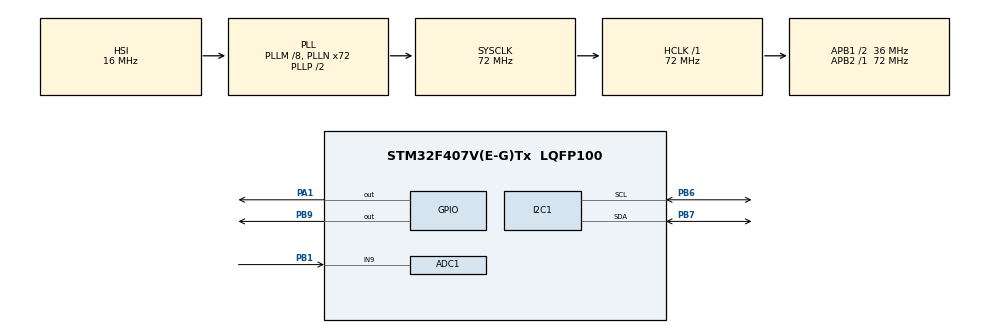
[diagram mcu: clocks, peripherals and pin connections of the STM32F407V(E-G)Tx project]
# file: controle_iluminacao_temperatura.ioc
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ADC1.Channel-1\#ChannelRegularConversion=ADC_CHANNEL_9
ADC1.ContinuousConvMode=ENABLE
ADC1.NbrOfConversionFlag=1
ADC1.Rank-1\#ChannelRegularConversion=1
ADC1.SamplingTime-1\#ChannelRegularConversion=ADC_SAMPLETIME_3CYCLES
ADC1.master=1
I2C1.OwnAddress=10
Mcu.Family=STM32F4
Mcu.Name=STM32F407V(E-G)Tx
Mcu.Package=LQFP100
NVIC.I2C1_EV_IRQn=true\:0\:0\:false\:false\:true\:true\:true\:true
NVIC.PriorityGroup=NVIC_PRIORITYGROUP_4
PA1.Signal=GPIO_Output
PA13.Mode=Serial_Wire
PA13.Signal=SYS_JTMS-SWDIO
PA14.Mode=Serial_Wire
PA14.Signal=SYS_JTCK-SWCLK
PB1.Signal=ADCx_IN9
PB6.Mode=I2C
PB6.Signal=I2C1_SCL
PB7.Mode=I2C
PB7.Signal=I2C1_SDA
PB9.Signal=GPIO_Output
PH0-OSC_IN.Mode=HSE-External-Oscillator
PH0-OSC_IN.Signal=RCC_OSC_IN
PH1-OSC_OUT.Mode=HSE-External-Oscillator
PH1-OSC_OUT.Signal=RCC_OSC_OUT
ProjectManager.HeapSize=0x200
ProjectManager.StackSize=0x400
ProjectManager.TargetToolchain=STM32CubeIDE
RCC.48MHZClocksFreq_Value=36000000
RCC.AHBFreq_Value=72000000
RCC.APB1CLKDivider=RCC_HCLK_DIV2
RCC.APB1Freq_Value=36000000
RCC.APB1TimFreq_Value=72000000
RCC.APB2Freq_Value=72000000
RCC.APB2TimFreq_Value=72000000
RCC.CortexFreq_Value=72000000
RCC.HCLKFreq_Value=72000000
RCC.HSE_VALUE=25000000
RCC.HSI_VALUE=16000000
RCC.LSE_VALUE=32768
RCC.PLLM=8
RCC.PLLN=72
RCC.SYSCLKFreq_VALUE=72000000
RCC.SYSCLKSource=RCC_SYSCLKSOURCE_PLLCLK
RCC.VCOOutputFreq_Value=144000000
SH.ADCx_IN9.0=ADC1_IN9,IN9
TIM1.Prescaler=71
VP_TIM1_VS_ClockSourceINT.Mode=Internal
board=custom

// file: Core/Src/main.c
/* USER CODE BEGIN Header */
/**
  ******************************************************************************
  * @file           : main.c
  * @brief          : Main program body
  ******************************************************************************
  * @attention
  *
  * Copyright (c) 2022 STMicroelectronics.
  * All rights reserved.
  *
  * This software is licensed under terms that can be found in the LICENSE file
  * in the root directory of this software component.
  * If no LICENSE file comes with this software, it is provided AS-IS.
  *
  ******************************************************************************
  */
/* USER CODE END Header */
#include "main.h"

/* USER CODE BEGIN Includes */
#define COUNTOF(__BUFFER__)   (sizeof(__BUFFER__) / sizeof(*(__BUFFER__)))
/* Size of Transmission buffer */
#define TXBUFFERSIZE                      (COUNTOF(aTxBuffer))
/* Size of Reception buffer */
#define RXBUFFERSIZE                      TXBUFFERSIZE
/* USER CODE END Includes */

/* USER CODE BEGIN PTD */
__IO uint32_t     Transfer_Direction = 0;
__IO uint32_t     Xfer_Complete = 0;
/* USER CODE END PTD */

 ADC_HandleTypeDef hadc1;

I2C_HandleTypeDef hi2c1;

TIM_HandleTypeDef htim1;

/* USER CODE BEGIN PD */
/* Buffer used for transmission */
uint8_t aTxBuffer[4];

/* Buffer used for reception */
uint8_t aRxBuffer[4];
/* USER CODE END PD */

void SystemClock_Config(void);
static void MX_GPIO_Init(void);
static void MX_ADC1_Init(void);
static void MX_TIM1_Init(void);
static void MX_I2C1_Init(void);

/* USER CODE BEGIN 0 */

#define DHT11_PORT GPIOB
#define DHT11_PIN GPIO_PIN_9
uint8_t RHI, RHD, TCI, TCD, SUM;
uint32_t pMillis, cMillis;
float tCelsius = 0;
float tFahrenheit = 0;
float RH = 0;
uint8_t automatic = 1;

void microDelay (uint16_t delay)
{
  __HAL_TIM_SET_COUNTER(&htim1, 0);
  while (__HAL_TIM_GET_COUNTER(&htim1) < delay);
}

uint8_t DHT11_Start (void)
{
  uint8_t Response = 0;
  GPIO_InitTypeDef GPIO_InitStructPrivate = {0};
  GPIO_InitStructPrivate.Pin = DHT11_PIN;
  GPIO_InitStructPrivate.Mode = GPIO_MODE_OUTPUT_PP;
  GPIO_InitStructPrivate.Speed = GPIO_SPEED_FREQ_LOW;
  GPIO_InitStructPrivate.Pull = GPIO_NOPULL;
  HAL_GPIO_Init(DHT11_PORT, &GPIO_InitStructPrivate); // set the pin as output
  HAL_GPIO_WritePin (DHT11_PORT, DHT11_PIN, 0);   // pull the pin low
  HAL_Delay(20);   // wait for 20ms
  HAL_GPIO_WritePin (DHT11_PORT, DHT11_PIN, 1);   // pull the pin high
  microDelay (30);   // wait for 30us
  GPIO_InitStructPrivate.Mode = GPIO_MODE_INPUT;
  GPIO_InitStructPrivate.Pull = GPIO_PULLUP;
  HAL_GPIO_Init(DHT11_PORT, &GPIO_InitStructPrivate); // set the pin as input
  microDelay (40);
  if (!(HAL_GPIO_ReadPin (DHT11_PORT, DHT11_PIN)))
  {
    microDelay (80);
    if ((HAL_GPIO_ReadPin (DHT11_PORT, DHT11_PIN))) Response = 1;
  }
  pMillis = HAL_GetTick();
  cMillis = HAL_GetTick();
  while ((HAL_GPIO_ReadPin (DHT11_PORT, DHT11_PIN)) && pMillis + 2 > cMillis)
  {
    cMillis = HAL_GetTick();
  }
  return Response;
}

uint8_t DHT11_Read (void)
{
  uint8_t a,b;
  for (a=0;a<8;a++)
  {
    pMillis = HAL_GetTick();
    cMillis = HAL_GetTick();
    while (!(HAL_GPIO_ReadPin (DHT11_PORT, DHT11_PIN)) && pMillis + 2 > cMillis)
    {  // wait for the pin to go high
      cMillis = HAL_GetTick();
    }
    microDelay (40);   // wait for 40 us
    if (!(HAL_GPIO_ReadPin (DHT11_PORT, DHT11_PIN)))   // if the pin is low
      b&= ~(1<<(7-a));
    else
      b|= (1<<(7-a));
    pMillis = HAL_GetTick();
    cMillis = HAL_GetTick();
    while ((HAL_GPIO_ReadPin (DHT11_PORT, DHT11_PIN)) && pMillis + 2 > cMillis)
    {  // wait for the pin to go low
      cMillis = HAL_GetTick();
    }
  }
  return b;
}
/* USER CODE END 0 */

int main(void)
{

  /* MCU Configuration--------------------------------------------------------*/

  /* Reset of all peripherals, Initializes the Flash interface and the Systick. */
  HAL_Init();

  /* Configure the system clock */
  SystemClock_Config();

  /* Initialize all configured peripherals */
  MX_GPIO_Init();
  MX_ADC1_Init();
  MX_TIM1_Init();
  MX_I2C1_Init();
  /* USER CODE BEGIN 2 */
  uint16_t readValue;
  HAL_ADC_Start(&hadc1);
  HAL_TIM_Base_Start(&htim1);
  if(HAL_I2C_EnableListen_IT(&hi2c1) != HAL_OK)
  {
    /* Transfer error in reception process */
    Error_Handler();
  }
  /* USER CODE END 2 */
  /* Infinite loop */
  /* USER CODE BEGIN WHILE */
  while (1)
  {

	 /* DHT_11 */
	  if (automatic) {

		  if(DHT11_Start())
			  {
				RHI = DHT11_Read(); // Relative humidity integral
				RHD = DHT11_Read(); // Relative humidity decimal
				TCI = DHT11_Read(); // Celsius integral
				TCD = DHT11_Read(); // Celsius decimal
				SUM = DHT11_Read();
				if (RHI + RHD + TCI + TCD == SUM)
				{

				  tCelsius = (float)TCI + (float)(TCD/10.0);
				  tFahrenheit = tCelsius * 9/5 + 32;
				  RH = (float)RHI + (float)(RHD/10.0);

				}
				if (TCI < 15)
				{
	;
				}
				else if (TCI < 25 )
				{

				}
				else
				{

				}
			  }
			  HAL_Delay(2000);

			  /* SENSOR LDR */

			  HAL_ADC_PollForConversion(&hadc1,1000);
			  readValue = HAL_ADC_GetValue(&hadc1);

			  if (readValue < 10)

				  HAL_GPIO_WritePin(GPIOA, GPIO_PIN_1, 1);
			  else
				  HAL_GPIO_WritePin(GPIOA, GPIO_PIN_1, 0);

			  HAL_Delay(50);

		/* USER CODE END WHILE */

	  }
  }
}

void SystemClock_Config(void)
{
  RCC_OscInitTypeDef RCC_OscInitStruct = {0};
  RCC_ClkInitTypeDef RCC_ClkInitStruct = {0};

  /** Configure the main internal regulator output voltage
  */
  __HAL_RCC_PWR_CLK_ENABLE();
  __HAL_PWR_VOLTAGESCALING_CONFIG(PWR_REGULATOR_VOLTAGE_SCALE1);

  /** Initializes the RCC Oscillators according to the specified parameters
  * in the RCC_OscInitTypeDef structure.
  */
  RCC_OscInitStruct.OscillatorType = RCC_OSCILLATORTYPE_HSI;
  RCC_OscInitStruct.HSIState = RCC_HSI_ON;
  RCC_OscInitStruct.HSICalibrationValue = RCC_HSICALIBRATION_DEFAULT;
  RCC_OscInitStruct.PLL.PLLState = RCC_PLL_ON;
  RCC_OscInitStruct.PLL.PLLSource = RCC_PLLSOURCE_HSI;
  RCC_OscInitStruct.PLL.PLLM = 8;
  RCC_OscInitStruct.PLL.PLLN = 72;
  RCC_OscInitStruct.PLL.PLLP = RCC_PLLP_DIV2;
  RCC_OscInitStruct.PLL.PLLQ = 4;
  if (HAL_RCC_OscConfig(&RCC_OscInitStruct) != HAL_OK)
  {
    Error_Handler();
  }

  /** Initializes the CPU, AHB and APB buses clocks
  */
  RCC_ClkInitStruct.ClockType = RCC_CLOCKTYPE_HCLK|RCC_CLOCKTYPE_SYSCLK
                              |RCC_CLOCKTYPE_PCLK1|RCC_CLOCKTYPE_PCLK2;
  RCC_ClkInitStruct.SYSCLKSource = RCC_SYSCLKSOURCE_PLLCLK;
  RCC_ClkInitStruct.AHBCLKDivider = RCC_SYSCLK_DIV1;
  RCC_ClkInitStruct.APB1CLKDivider = RCC_HCLK_DIV2;
  RCC_ClkInitStruct.APB2CLKDivider = RCC_HCLK_DIV1;

  if (HAL_RCC_ClockConfig(&RCC_ClkInitStruct, FLASH_LATENCY_2) != HAL_OK)
  {
    Error_Handler();
  }
}

static void MX_ADC1_Init(void)
{

  ADC_ChannelConfTypeDef sConfig = {0};

  /** Configure the global features of the ADC (Clock, Resolution, Data Alignment and number of conversion)
  */
  hadc1.Instance = ADC1;
  hadc1.Init.ClockPrescaler = ADC_CLOCK_SYNC_PCLK_DIV2;
  hadc1.Init.Resolution = ADC_RESOLUTION_12B;
  hadc1.Init.ScanConvMode = DISABLE;
  hadc1.Init.ContinuousConvMode = ENABLE;
  hadc1.Init.DiscontinuousConvMode = DISABLE;
  hadc1.Init.ExternalTrigConvEdge = ADC_EXTERNALTRIGCONVEDGE_NONE;
  hadc1.Init.ExternalTrigConv = ADC_SOFTWARE_START;
  hadc1.Init.DataAlign = ADC_DATAALIGN_RIGHT;
  hadc1.Init.NbrOfConversion = 1;
  hadc1.Init.DMAContinuousRequests = DISABLE;
  hadc1.Init.EOCSelection = ADC_EOC_SINGLE_CONV;
  if (HAL_ADC_Init(&hadc1) != HAL_OK)
  {
    Error_Handler();
  }

  /** Configure for the selected ADC regular channel its corresponding rank in the sequencer and its sample time.
  */
  sConfig.Channel = ADC_CHANNEL_9;
  sConfig.Rank = 1;
  sConfig.SamplingTime = ADC_SAMPLETIME_3CYCLES;
  if (HAL_ADC_ConfigChannel(&hadc1, &sConfig) != HAL_OK)
  {
    Error_Handler();
  }

}

static void MX_I2C1_Init(void)
{

  hi2c1.Instance = I2C1;
  hi2c1.Init.ClockSpeed = 100000;
  hi2c1.Init.DutyCycle = I2C_DUTYCYCLE_2;
  hi2c1.Init.OwnAddress1 = 20;
  hi2c1.Init.AddressingMode = I2C_ADDRESSINGMODE_7BIT;
  hi2c1.Init.DualAddressMode = I2C_DUALADDRESS_DISABLE;
  hi2c1.Init.OwnAddress2 = 0;
  hi2c1.Init.GeneralCallMode = I2C_GENERALCALL_DISABLE;
  hi2c1.Init.NoStretchMode = I2C_NOSTRETCH_DISABLE;
  if (HAL_I2C_Init(&hi2c1) != HAL_OK)
  {
    Error_Handler();
  }

}

static void MX_TIM1_Init(void)
{

  TIM_ClockConfigTypeDef sClockSourceConfig = {0};
  TIM_MasterConfigTypeDef sMasterConfig = {0};

  htim1.Instance = TIM1;
  htim1.Init.Prescaler = 71;
  htim1.Init.CounterMode = TIM_COUNTERMODE_UP;
  htim1.Init.Period = 65535;
  htim1.Init.ClockDivision = TIM_CLOCKDIVISION_DIV1;
  htim1.Init.RepetitionCounter = 0;
  htim1.Init.AutoReloadPreload = TIM_AUTORELOAD_PRELOAD_DISABLE;
  if (HAL_TIM_Base_Init(&htim1) != HAL_OK)
  {
    Error_Handler();
  }
  sClockSourceConfig.ClockSource = TIM_CLOCKSOURCE_INTERNAL;
  if (HAL_TIM_ConfigClockSource(&htim1, &sClockSourceConfig) != HAL_OK)
  {
    Error_Handler();
  }
  sMasterConfig.MasterOutputTrigger = TIM_TRGO_RESET;
  sMasterConfig.MasterSlaveMode = TIM_MASTERSLAVEMODE_DISABLE;
  if (HAL_TIMEx_MasterConfigSynchronization(&htim1, &sMasterConfig) != HAL_OK)
  {
    Error_Handler();
  }

}

static void MX_GPIO_Init(void)
{
  GPIO_InitTypeDef GPIO_InitStruct = {0};

  /* GPIO Ports Clock Enable */
  __HAL_RCC_GPIOH_CLK_ENABLE();
  __HAL_RCC_GPIOA_CLK_ENABLE();
  __HAL_RCC_GPIOB_CLK_ENABLE();

  /*Configure GPIO pin Output Level */
  HAL_GPIO_WritePin(GPIOA, GPIO_PIN_1, GPIO_PIN_RESET);

  /*Configure GPIO pin Output Level */
  HAL_GPIO_WritePin(GPIOB, GPIO_PIN_9, GPIO_PIN_RESET);

  /*Configure GPIO pin : PA1 */
  GPIO_InitStruct.Pin = GPIO_PIN_1;
  GPIO_InitStruct.Mode = GPIO_MODE_OUTPUT_PP;
  GPIO_InitStruct.Pull = GPIO_NOPULL;
  GPIO_InitStruct.Speed = GPIO_SPEED_FREQ_LOW;
  HAL_GPIO_Init(GPIOA, &GPIO_InitStruct);

  /*Configure GPIO pin : PB9 */
  GPIO_InitStruct.Pin = GPIO_PIN_9;
  GPIO_InitStruct.Mode = GPIO_MODE_OUTPUT_PP;
  GPIO_InitStruct.Pull = GPIO_NOPULL;
  GPIO_InitStruct.Speed = GPIO_SPEED_FREQ_LOW;
  HAL_GPIO_Init(GPIOB, &GPIO_InitStruct);

}

void Error_Handler(void)
{
  __disable_irq();
  while (1)
  {
  }
}
